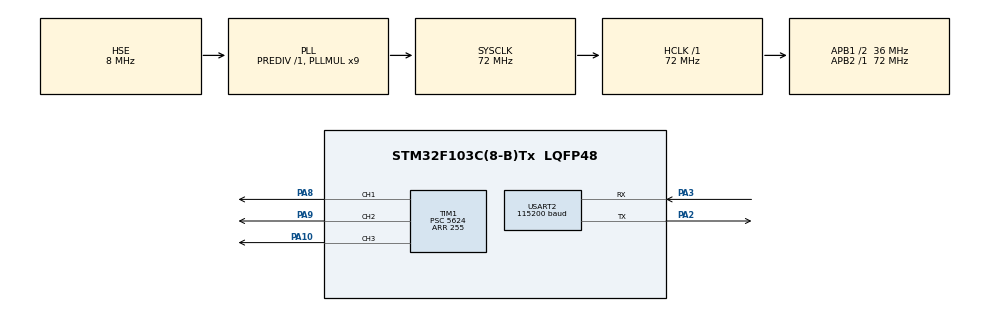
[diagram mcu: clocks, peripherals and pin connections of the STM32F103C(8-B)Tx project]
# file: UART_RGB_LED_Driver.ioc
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Mcu.Family=STM32F1
Mcu.Name=STM32F103C(8-B)Tx
Mcu.Package=LQFP48
NVIC.PriorityGroup=NVIC_PRIORITYGROUP_4
NVIC.USART2_IRQn=true\:0\:0\:false\:false\:true\:true\:true
PA10.Signal=S_TIM1_CH3
PA13.Mode=Serial_Wire
PA13.Signal=SYS_JTMS-SWDIO
PA14.Mode=Serial_Wire
PA14.Signal=SYS_JTCK-SWCLK
PA2.Mode=Asynchronous
PA2.Signal=USART2_TX
PA3.Mode=Asynchronous
PA3.Signal=USART2_RX
PA8.Signal=S_TIM1_CH1
PA9.Signal=S_TIM1_CH2
PD0-OSC_IN.Mode=HSE-External-Oscillator
PD0-OSC_IN.Signal=RCC_OSC_IN
PD1-OSC_OUT.Mode=HSE-External-Oscillator
PD1-OSC_OUT.Signal=RCC_OSC_OUT
ProjectManager.HeapSize=0x200
ProjectManager.StackSize=0x400
ProjectManager.TargetToolchain=STM32CubeIDE
RCC.AHBFreq_Value=72000000
RCC.APB1CLKDivider=RCC_HCLK_DIV2
RCC.APB1Freq_Value=36000000
RCC.APB1TimFreq_Value=72000000
RCC.APB2Freq_Value=72000000
RCC.APB2TimFreq_Value=72000000
RCC.HCLKFreq_Value=72000000
RCC.PLLMUL=RCC_PLL_MUL9
RCC.PLLSourceVirtual=RCC_PLLSOURCE_HSE
RCC.SYSCLKFreq_VALUE=72000000
RCC.SYSCLKSource=RCC_SYSCLKSOURCE_PLLCLK
RCC.USBFreq_Value=72000000
SH.S_TIM1_CH1.0=TIM1_CH1,PWM Generation1 CH1
SH.S_TIM1_CH2.0=TIM1_CH2,PWM Generation2 CH2
SH.S_TIM1_CH3.0=TIM1_CH3,PWM Generation3 CH3
TIM1.AutoReloadPreload=TIM_AUTORELOAD_PRELOAD_ENABLE
TIM1.Channel-PWM\ Generation1\ CH1=TIM_CHANNEL_1
TIM1.Channel-PWM\ Generation2\ CH2=TIM_CHANNEL_2
TIM1.Channel-PWM\ Generation3\ CH3=TIM_CHANNEL_3
TIM1.Period=255
TIM1.Prescaler=5624
TIM1.Pulse-PWM\ Generation1\ CH1=128
TIM1.Pulse-PWM\ Generation2\ CH2=128
TIM1.Pulse-PWM\ Generation3\ CH3=255
USART2.BaudRate=115200
USART2.VirtualMode=VM_ASYNC
VP_TIM1_VS_ClockSourceINT.Mode=Internal
board=custom

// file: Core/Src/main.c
/* USER CODE BEGIN Header */
/**
  ******************************************************************************
  * @file           : main.c
  * @brief          : Main program body
  ******************************************************************************
  * @attention
  *
  * <h2><center>&copy; Copyright (c) 2021 STMicroelectronics.
  * All rights reserved.</center></h2>
  *
  * This software component is licensed by ST under BSD 3-Clause license,
  * the "License"; You may not use this file except in compliance with the
  * License. You may obtain a copy of the License at:
  *                        opensource.org/licenses/BSD-3-Clause
  *
  ******************************************************************************
  */
/* USER CODE END Header */
#include "main.h"
#include "tim.h"
#include "usart.h"
#include "gpio.h"

/* USER CODE BEGIN Includes */
#include "Moje_Systick_Handle.h"
/* USER CODE END Includes */

/* USER CODE BEGIN PV */
uint8_t znak, licznik, dl_kom, flaga_stopniowanie,
bufor_PWM1,bufor_PWM2,bufor_PWM3,licznik_stopniowania;
uint8_t bufor[60];
uint8_t zparsowany[3], sukces, zparsowany1, zparsowany2, zparsowany3;
uint8_t R,G,B,i,j;
unsigned int _licznik_10ms, _10ms_go;

/* USER CODE END PV */

void SystemClock_Config(void);

/* USER CODE BEGIN 0 */

void Moje_Systick_Handle()
{
	if (flaga_stopniowanie == 1)
		{
			_licznik_10ms++;
			if (_licznik_10ms >= 10)
			{
				_licznik_10ms = 0;
				_10ms_go = 1;
			}
		}
}

int parsowanie_RGB(uint8_t* bufor)
{
	uint8_t check[14];
	for(i=0;i<3;i++)
	{
		if(*bufor=='R')
		{
		bufor++;
		for(j=0;j<3;j++)
		{
			zparsowany[j]=*bufor-48;
			bufor++;
		}
		R=(zparsowany[0])*100+(zparsowany[1])*10+zparsowany[2];

		}
		if(*bufor=='G')
		{
				bufor++;
				for(j=0;j<3;j++)
		{
					zparsowany[j]=*bufor-48;
					bufor++;
		}
		G=zparsowany[0]*100+zparsowany[1]*10+zparsowany[2];

		}
		if(*bufor=='B')
		{
				bufor++;
				for(j=0;j<3;j++)
				{
					zparsowany[j]=*bufor-48;
					bufor++;
				}
				B=zparsowany[0]*100+zparsowany[1]*10+zparsowany[2];

				}
	}

	for (i=1; i<2; i++)
	{
		bufor++;
	}

	for (i = 13; i>0; i--)
	{
		check[i] = *bufor;
		bufor--;
	}
	check[0] = *bufor;

	if((check[0] == 'R' ) && (check[4] == 'G' ) && (check[8] == 'B'))
	{
	return 1; // 1 oznacza sukces parsowania
	}else{
	return 2; // 2 oznacza błąd parsowania
	}

}

/* USER CODE END 0 */

int main(void)
{

  /* MCU Configuration--------------------------------------------------------*/

  /* Reset of all peripherals, Initializes the Flash interface and the Systick. */
  HAL_Init();

  /* Configure the system clock */
  SystemClock_Config();

  /* Initialize all configured peripherals */
  MX_GPIO_Init();
  MX_TIM1_Init();
  MX_USART2_UART_Init();
  /* USER CODE BEGIN 2 */
  HAL_TIM_PWM_Start(&htim1, TIM_CHANNEL_1);
  HAL_TIM_PWM_Start(&htim1, TIM_CHANNEL_2);
  HAL_TIM_PWM_Start(&htim1, TIM_CHANNEL_3);
  HAL_UART_Receive_IT(&huart2, &znak, 1);
  // initialize dark blue when turned on
  htim1.Instance->CCR1 = 100; // B
  htim1.Instance->CCR2 = 30; // G
  htim1.Instance->CCR3 = 10; // R
  /* USER CODE END 2 */

  /* Infinite loop */
  while (1)
  {

    /* USER CODE BEGIN 3 */
	  if((bufor[licznik-1] == '\n')&&(licznik != 14))
	  {
		  licznik = 0;
		  sukces = 2; // signal that recieved frame was not valid
	  }

	  if(licznik==14){
		  licznik=0;
		  sukces = parsowanie_RGB(&bufor[0]);

		  }

	  if(sukces==1)
	  {
		  	  	  	sukces=0;
		  	  	  	// check if higher then 255
		  	  	  	if (R > 255)
		  	  	  	{
		  	  	  		R = 255;
		  	  	  	}
		  	  	  	if (G > 255)
		  	  	  	{
		  	  	  		G = 255;
		  	  	  	}
		  	  	  	if (B > 255)
		  	  	  	{
		  	  	  		B = 255;
		  	  	  	}
		  	  	  	// Now check if smaller then 0
		  	  	  	if (R < 0)
		  	  	  	{
		   	  	  		R = 0;
		  	 	  	}
		   	  	  	if (G < 0)
		  	  	  	{
		  	  	  		G = 0;
		  	  		}
		  	  		if (B < 0)
		  	  		{
		  	   	  		B = 0;
		  	   	  	}

		  	  	  	bufor_PWM1 = htim1.Instance->CCR1;
		  	  	  	bufor_PWM2 = htim1.Instance->CCR2;
		  	  	  	bufor_PWM3 = htim1.Instance->CCR3;
		  	  	  	flaga_stopniowanie = 1;
		  	  	  	  	 while(flaga_stopniowanie == 1)
		  	  	  	  	  	  {
		  	  	  	  	  	  if(_10ms_go == 1)
		  	  	  	  	  	  {
		  	  	  	  	  		  _10ms_go = 0;
	 			  	  	  	  	  htim1.Instance->CCR1+=(B-bufor_PWM1)/10;
	 			  	  	  	  	  htim1.Instance->CCR2+=(G-bufor_PWM2)/10;
	 			  	  	  	  	  htim1.Instance->CCR3+=(R-bufor_PWM3)/10;
	 			  	  	  	  	  licznik_stopniowania++;
		  	  	  	  	  	  }
		  	  	  	  	  	  	  if(licznik_stopniowania >=10)
		  	  	  	  	  	  	  {
		  	  	  	  	  	  		  htim1.Instance->CCR1=B;
		  	  	  	  	  	  		  htim1.Instance->CCR2=G;
		  	  	  	  	  	  		  htim1.Instance->CCR3=R;
		  	  	  	  	  	  		  licznik_stopniowania =0;
		  	  	  	  	  	  		  flaga_stopniowanie = 0;
		  	  	  	  	  	  		  _licznik_10ms = 0;
		  	  	  	  	  	  	  }
		  	  	  	  	  	  }

	  }else if(sukces == 2)
	  {
		  sukces = 0;
		  HAL_Delay(5); // to make sure that any further incorrect data will be omitted
		  licznik = 0;
		  for(i=0; i<15; i++)
		  {
			  bufor[i] = 0;
		  }
		  znak = 0;
	  }

  }
  /* USER CODE END 3 */
}

void SystemClock_Config(void)
{
  RCC_OscInitTypeDef RCC_OscInitStruct = {0};
  RCC_ClkInitTypeDef RCC_ClkInitStruct = {0};

  /** Initializes the RCC Oscillators according to the specified parameters
  * in the RCC_OscInitTypeDef structure.
  */
  RCC_OscInitStruct.OscillatorType = RCC_OSCILLATORTYPE_HSE;
  RCC_OscInitStruct.HSEState = RCC_HSE_ON;
  RCC_OscInitStruct.HSEPredivValue = RCC_HSE_PREDIV_DIV1;
  RCC_OscInitStruct.HSIState = RCC_HSI_ON;
  RCC_OscInitStruct.PLL.PLLState = RCC_PLL_ON;
  RCC_OscInitStruct.PLL.PLLSource = RCC_PLLSOURCE_HSE;
  RCC_OscInitStruct.PLL.PLLMUL = RCC_PLL_MUL9;
  if (HAL_RCC_OscConfig(&RCC_OscInitStruct) != HAL_OK)
  {
    Error_Handler();
  }
  /** Initializes the CPU, AHB and APB buses clocks
  */
  RCC_ClkInitStruct.ClockType = RCC_CLOCKTYPE_HCLK|RCC_CLOCKTYPE_SYSCLK
                              |RCC_CLOCKTYPE_PCLK1|RCC_CLOCKTYPE_PCLK2;
  RCC_ClkInitStruct.SYSCLKSource = RCC_SYSCLKSOURCE_PLLCLK;
  RCC_ClkInitStruct.AHBCLKDivider = RCC_SYSCLK_DIV1;
  RCC_ClkInitStruct.APB1CLKDivider = RCC_HCLK_DIV2;
  RCC_ClkInitStruct.APB2CLKDivider = RCC_HCLK_DIV1;

  if (HAL_RCC_ClockConfig(&RCC_ClkInitStruct, FLASH_LATENCY_2) != HAL_OK)
  {
    Error_Handler();
  }
}

/* USER CODE BEGIN 4 */
void HAL_UART_RxCpltCallback(UART_HandleTypeDef *huart)
{
	if(huart->Instance == USART2){
		//flaga=1;
		bufor[licznik]=znak;
		licznik++;
		HAL_UART_Receive_IT(&huart2, &znak, 1);
	}
}
/* USER CODE END 4 */

void Error_Handler(void)
{
}

/************************ (C) COPYRIGHT STMicroelectronics *****END OF FILE****/
